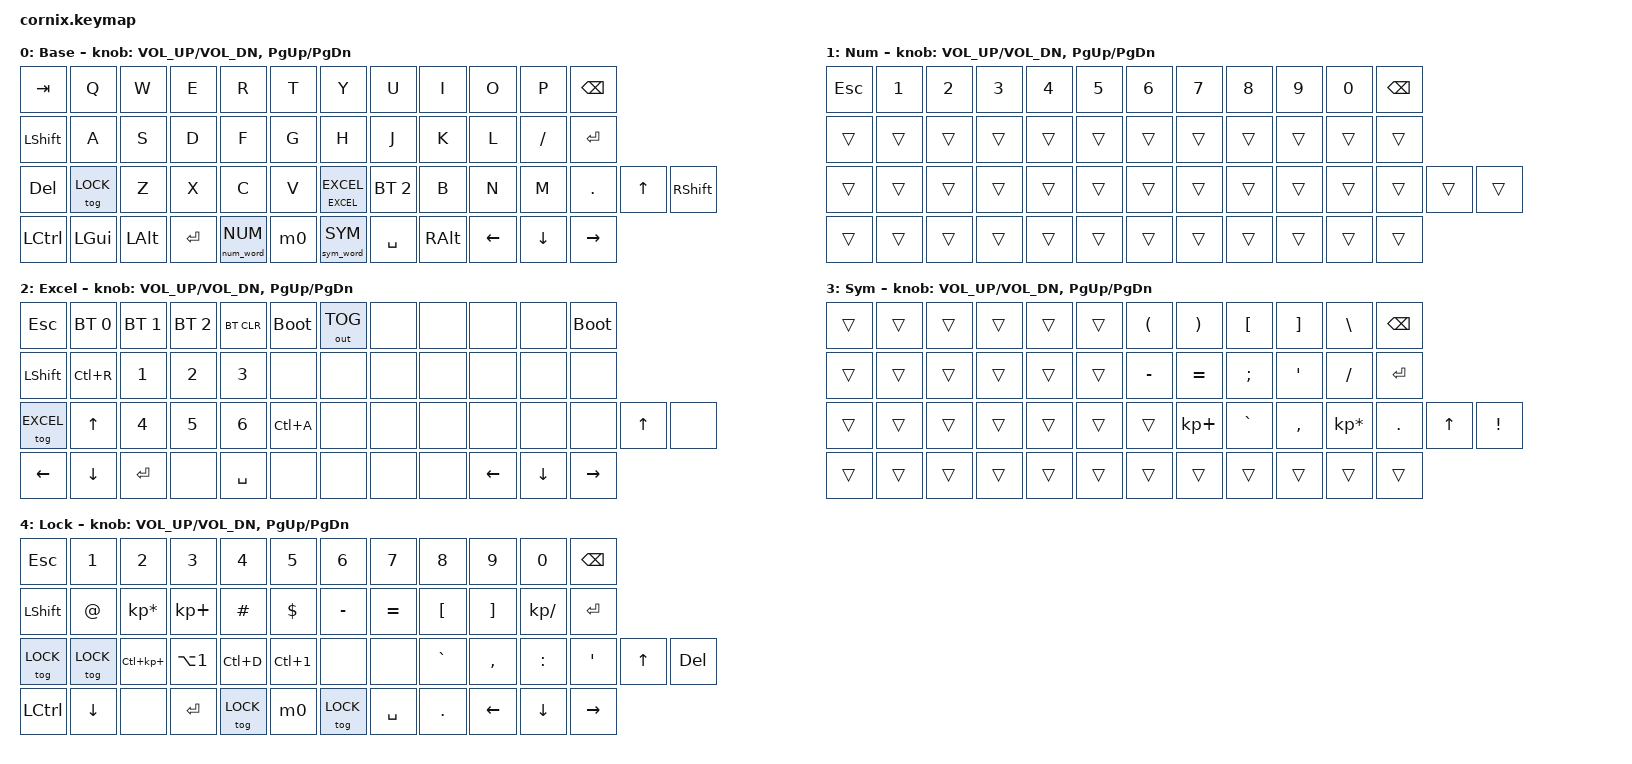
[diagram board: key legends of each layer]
/*
 * Cornix LP keymap for 범근님 (2026-10-12 v7 개정, 원본 2026-09-29)
 * 원천: Vial 현재 설정 사진 3장(Layer 0·1·2, Macros M0) + 261012 범근님 지시(숫자층 윗줄만, 기호층 오른손 전용, 잠금층=옛 Vial 1층).
 *
 * Key positions (50):
 *   0- 5 |  6-11   top row
 *  12-17 | 18-23   home row
 *  24-29 | 32-37   bottom row      30 = left inner(knob press), 31 = right inner(knob press)
 *  38-40 | 47-49   outer bottom keys (왼쪽 LCtrl LGui LAlt / 오른쪽 Left Down Right)
 *  41-43 | 44-46   thumbs (왼쪽 Enter · 숫자 · M0 / 오른쪽 기호 · Space · RAlt)
 *
 * 층 구조(5개): BASE 0, NUM 1, EXCEL 2, SYM 3, LOCK 4
 *   NUM  (1) 숫자층: 왼쪽 엄지 톡. 윗줄 숫자(1~0)·Esc·Bksp 만 살리고(Shift 로 !@#$%^&*()) 나머지는 전부 투명.
 *            숫자·Bksp·Del·점·쉼표를 치는 동안 유지, 다른 키(홈줄·한글 자모 등)를 치면 자동으로 기본층 복귀.
 *   SYM  (3) 기호층: 오른쪽 엄지 톡. 오른손에만 기호가 있고 왼손·엄지·바깥 아래는 전부 투명.
 *            기호·Bksp·Del·화살표를 치는 동안 유지, 왼손 키·Space·Enter 등에서 자동 복귀.
 *            두벌식 자음이 왼손이라 한글 첫 글자를 치면 꺼진다(261012 범근님 지시).
 *   LOCK (4) 잠금층: 옛 Vial 1층 그대로(숫자+기호+엑셀 단축키 Ctrl++ Alt+1 Ctrl+D Ctrl+1 포함, 글자 없음).
 *            기본층·잠금층 모두 위치 25(Ctrl+A 자리)의 &tog LOCK 으로 켜고 끈다(같은 물리 키). 잠금층에서는 24·42·44 로도 끌 수 있다.
 *   EXCEL(2) 엑셀층: 변경 없음. 왼쪽 노브 누름(위치 30) &tt 2 (누르는 동안 엑셀층, 톡 치면 켜둔 채 유지).
 *   오른쪽 노브 누름(위치 31) = 블루투스 3번(&bt BT_SEL 2).
 *
 * 들어가기·나오기:
 *   기본층 위치 42(왼쪽 엄지 가운데)  &num_word NUM -> 숫자층, 다른 키에서 자동 복귀
 *   기본층 위치 44(오른쪽 엄지 첫 키) &sym_word SYM -> 기호층, 왼손·Space·Enter 등에서 자동 복귀
 *   기본층 위치 25(옛 Ctrl+A 자리)    &tog LOCK -> 잠금층 켜기
 *   잠금층 위치 25·24·42·44           &tog LOCK -> 잠금층 끄기(25 가 켠 키와 같은 자리)
 *
 * Vial 대응 (원래 문서):
 *   TG(2)   -> &tog 2       : 엑셀층 끄기(2층 안의 키)
 *   왼쪽 안쪽 키 "+" -> &tt 2 : 누르고 있으면 엑셀층, 톡 치면 켜둔 채 유지(260928 확정 "안쪽 TG(2)->TT(2)")
 *   M0      -> &m0          : Ctrl+V 뒤 Enter
 *   "LCtl A" 같은 두 줄 키 -> &kp LC(A) (조합키)
 *   빈 키   -> &none
 *   2층 왼손 윗줄(원래 빈 키) -> 블루투스 프로필 1·2·3 / 페어링 지우기 (중앙인 왼쪽 반쪽에 있어야 양쪽 연결이 끊겨도 동작, 260929 범근님 '블루투스 연결 안 됨') / 오른손 윗줄 첫 키 USB·BT 전환 / 양쪽 반쪽에 굽기 모드 키 하나씩(&bootloader 는 누른 쪽 반쪽이 부트로더로 감: 왼쪽 윗줄 끝 = 왼쪽 반쪽, 오른쪽 윗줄 끝 = 오른쪽 반쪽). 리셋 버튼 없이 uf2 드라이브 진입. 범근님 '리셋 버튼 없는데' 260929)
 */
#include <behaviors.dtsi>
#include <behaviors/num_word.dtsi>
#include <dt-bindings/zmk/bt.h>
#include <dt-bindings/zmk/keys.h>
#include <dt-bindings/zmk/outputs.h>

#define BASE  0
#define NUM   1
#define EXCEL 2
#define SYM   3
#define LOCK  4

&num_word {
    // 261012 범근님 지시: 숫자층은 윗줄 숫자만. 숫자·Bksp·Del·점·쉼표만 유지하고, 2열(홈줄)이나 한글 자모 등 그 밖의 키는 즉시 기본층 복귀.
    //   기호·화살표는 유지 목록에서 제거(기호는 Layer 3 sym_word 로 분리). 모듈 기본값의 ignore-numbers 는 그대로 두고 ignore-modifiers 유지.
    continue-list = <N0 N1 N2 N3 N4 N5 N6 N7 N8 N9 DOT COMMA BSPC DEL KP_DOT>;
    ignore-modifiers;
};

/ {
    behaviors {
        tt: tap_toggle_layer {
            compatible = "zmk,behavior-hold-tap";
            #binding-cells = <2>;
            flavor = "hold-preferred";
            tapping-term-ms = <200>;
            bindings = <&mo>, <&tog>;
        };

        // 261012 v7: 기호층(SYM) 자동 복귀. num_word 와 같은 모듈(urob/zmk-auto-layer)의 zmk,behavior-auto-layer 두 번째 인스턴스.
        //   오른손 기호·Bksp·Del·화살표만 유지. 왼손 키·Space·Enter·글자는 목록에 없어 즉시 기본층 복귀.
        sym_word: sym_word {
            compatible = "zmk,behavior-auto-layer";
            #binding-cells = <1>;
            continue-list = <LPAR RPAR LBKT RBKT BSLH LBRC RBRC PIPE MINUS EQUAL SEMI SQT FSLH UNDER PLUS COLON DQT QMARK GRAVE COMMA KP_ASTERISK STAR DOT TILDE LT GT EXCL KP_PLUS BSPC DEL UP DOWN LEFT RIGHT>;
            ignore-modifiers;
        };
    };

    macros {
        m0: m0_paste_enter {
            compatible = "zmk,behavior-macro";
            #binding-cells = <0>;
            wait-ms = <10>;
            tap-ms = <10>;
            bindings = <&kp LC(V) &kp RET>;
        };
    };

    keymap {
        compatible = "zmk,keymap";

        base_layer {
            display-name = "Base";
            // | Tab   | Q      | W    | E     | R   | T  |              | Y   | U     | I    | O    | P    | Bksp  |
            // | LShft | A      | S    | D     | F   | G  |              | H   | J     | K    | L    | /    | Enter |
            // | Del   | LOCK   | Z    | X     | C   | V  | TT2 | BT3    | B   | N     | M    | .    | Up   | RShft |
            // | LCtrl | LGui   | LAlt | Enter | NUM | M0 |              | SYM | Space | RAlt | Left | Down | Right |
            // (NUM = 왼쪽 엄지 num_word 숫자층 톡, SYM = 오른쪽 엄지 sym_word 기호층 톡)
            bindings = <
&kp TAB       &kp Q         &kp W         &kp E         &kp R         &kp T         &kp Y         &kp U         &kp I         &kp O         &kp P         &kp BSPC
&kp LSHFT     &kp A         &kp S         &kp D         &kp F         &kp G         &kp H         &kp J         &kp K         &kp L         &kp FSLH      &kp RET
&kp DEL       &tog LOCK     &kp Z         &kp X         &kp C         &kp V         &tt EXCEL EXCEL &bt BT_SEL 2  &kp B         &kp N         &kp M         &kp DOT       &kp UP        &kp RSHFT
&kp LCTRL     &kp LGUI      &kp LALT      &kp RET       &num_word NUM &m0           &sym_word SYM &kp SPACE     &kp RALT      &kp LEFT      &kp DOWN      &kp RIGHT
            >;
            sensor-bindings = <&inc_dec_kp C_VOL_UP C_VOL_DN &inc_dec_kp PG_UP PG_DN>;
        };

        num_layer {
            display-name = "Num";
            // | Esc | 1 | 2 | 3 | 4 | 5 |           | 6 | 7 | 8 | 9 | 0 | Bksp |  (Shift 와 함께 치면 !@#$%^&*())
            // | 홈줄 12-23 전부 투명(홈줄을 치면 자동 복귀) |
            // | 위치 24 투명(v7: 잠금 켜기는 기본층 Ctrl+A 자리로 이동) | 나머지 전부 투명 |
            // | 아래줄 전부 투명 |
            bindings = <
&kp ESC       &kp N1        &kp N2        &kp N3        &kp N4        &kp N5        &kp N6        &kp N7        &kp N8        &kp N9        &kp N0        &kp BSPC
&trans        &trans        &trans        &trans        &trans        &trans        &trans        &trans        &trans        &trans        &trans        &trans
&trans        &trans        &trans        &trans        &trans        &trans        &trans        &trans        &trans        &trans        &trans        &trans        &trans        &trans
&trans        &trans        &trans        &trans        &trans        &trans        &trans        &trans        &trans        &trans        &trans        &trans
            >;
            sensor-bindings = <&inc_dec_kp C_VOL_UP C_VOL_DN &inc_dec_kp PG_UP PG_DN>;
        };

        excel_layer {
            display-name = "Excel";
            // | Esc   | BT1    | BT2   | BT3 | BT지우기 | 왼쪽굽기 |       | USB/BT | -- | -- | -- | -- | 오른쪽굽기 |
            // | LShft | Ctrl+R | 1     | 2  | 3     | --     |           | --  | --  | --  | --      | --     | --    |
            // | TG2   | Up     | 4     | 5  | 6     | Ctrl+A | -- | --   | --  | --  | --  | --      | Up     | --    |
            // | Left  | Down   | Enter | -- | Space | --     |           | --  | --  | --  | Left    | Down   | Right |
            bindings = <
&kp ESC     &bt BT_SEL 0  &bt BT_SEL 1  &bt BT_SEL 2  &bt BT_CLR  &bootloader          &out OUT_TOG  &none         &none         &none       &none         &bootloader
&kp LSHFT   &kp LC(R)  &kp N1   &kp N2  &kp N3     &none                                &none         &none         &none         &none       &none         &none
&tog EXCEL  &kp UP     &kp N4   &kp N5  &kp N6     &kp LC(A)  &none        &none        &none         &none         &none         &none       &kp UP        &none
&kp LEFT    &kp DOWN   &kp RET  &none   &kp SPACE  &none                                &none         &none         &none         &kp LEFT    &kp DOWN      &kp RIGHT
            >;
            sensor-bindings = <&inc_dec_kp C_VOL_UP C_VOL_DN &inc_dec_kp PG_UP PG_DN>;
        };

        sym_layer {
            display-name = "Sym";
            // 오른손에만 기호. 왼손 0-5·12-17·24-30 과 엄지·바깥 아래 38-49 는 전부 투명(칠 때 자동 복귀)
            // |  --  |  --  |  --  |  --  |  --  |  --  |           | (  | )  | [  | ]  | \  | Bksp |
            // |  --  |  --  |  --  |  --  |  --  |  --  |           | -  | =  | ;  | '  | /  | Enter |
            // |  --  |  --  |  --  |  --  |  --  |  --  | -- | KP+ | `  | ,  | KP* | .  | Up | !  |
            // | 아래줄 38-49 전부 투명 |
            bindings = <
&trans        &trans        &trans        &trans        &trans        &trans        &kp LPAR      &kp RPAR      &kp LBKT      &kp RBKT      &kp BSLH      &kp BSPC
&trans        &trans        &trans        &trans        &trans        &trans        &kp MINUS     &kp EQUAL     &kp SEMI      &kp SQT       &kp FSLH      &kp RET
&trans        &trans        &trans        &trans        &trans        &trans        &trans        &kp KP_PLUS   &kp GRAVE     &kp COMMA     &kp KP_ASTERISK &kp DOT       &kp UP        &kp EXCL
&trans        &trans        &trans        &trans        &trans        &trans        &trans        &trans        &trans        &trans        &trans        &trans
            >;
            sensor-bindings = <&inc_dec_kp C_VOL_UP C_VOL_DN &inc_dec_kp PG_UP PG_DN>;
        };

        lock_layer {
            display-name = "Lock";
            // 옛 Vial 1층 그대로(24·25·42·44 만 잠금 끄기, 25 는 기본층 켜기 키와 같은 자리)
            // | Esc   | 1  | 2    | 3  | 4    | 5  |           | 6   | 7  | 8  | 9  | 0  | Bksp |
            // | LShft | @ | KP* | KP+ | #  | $  |      | -   | =  | [  | ]  | KP/ | Enter |
            // | LOCK(끄기) | LOCK(끄기) | Ctrl++ | Alt+1 | Ctrl+D | Ctrl+1 | -- | -- | `  | ,  | :  | '  | Up | Del |
            // | LCtrl | Down | -- | Enter | LOCK(끄기) | M0 |    | LOCK(끄기) | Space | .  | Left | Down | Right |
            bindings = <
&kp ESC       &kp N1        &kp N2        &kp N3        &kp N4        &kp N5        &kp N6        &kp N7        &kp N8        &kp N9        &kp N0        &kp BSPC
&kp LSHFT     &kp AT     &kp KP_ASTERISK &kp KP_PLUS   &kp HASH      &kp DLLR      &kp MINUS     &kp EQUAL     &kp LBKT      &kp RBKT      &kp KP_SLASH  &kp RET
&tog LOCK     &tog LOCK   &kp LC(KP_PLUS) &kp LA(N1)    &kp LC(D)     &kp LC(N1)    &none         &none         &kp GRAVE     &kp COMMA     &kp COLON     &kp SQT       &kp UP        &kp DEL
&kp LCTRL     &kp DOWN      &none         &kp RET       &tog LOCK     &m0           &tog LOCK     &kp SPACE     &kp DOT       &kp LEFT      &kp DOWN      &kp RIGHT
            >;
            sensor-bindings = <&inc_dec_kp C_VOL_UP C_VOL_DN &inc_dec_kp PG_UP PG_DN>;
        };
    };
};
